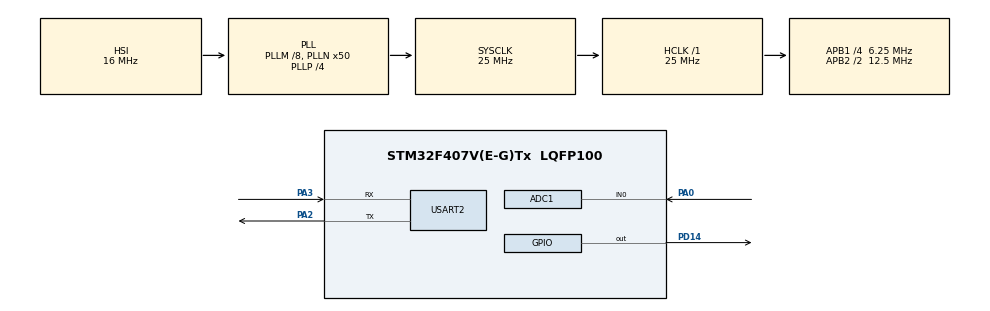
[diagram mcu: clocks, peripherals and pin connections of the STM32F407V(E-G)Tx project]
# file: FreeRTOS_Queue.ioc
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ADC1.Channel-0\#ChannelRegularConversion=ADC_CHANNEL_0
ADC1.NbrOfConversionFlag=1
ADC1.Rank-0\#ChannelRegularConversion=1
ADC1.SamplingTime-0\#ChannelRegularConversion=ADC_SAMPLETIME_3CYCLES
ADC1.master=1
FREERTOS.Tasks01=defaultTask,24,128,StartDefaultTask,Default,NULL,Dynamic,NULL,NULL
FREERTOS.configUSE_NEWLIB_REENTRANT=1
Mcu.Family=STM32F4
Mcu.Name=STM32F407V(E-G)Tx
Mcu.Package=LQFP100
NVIC.ADC_IRQn=true\:5\:0\:false\:false\:true\:true\:true\:true\:true
NVIC.PriorityGroup=NVIC_PRIORITYGROUP_4
NVIC.TIM6_DAC_IRQn=true\:15\:0\:false\:false\:true\:false\:false\:true\:true
NVIC.TimeBase=TIM6_DAC_IRQn
NVIC.TimeBaseIP=TIM6
PA0-WKUP.Signal=ADCx_IN0
PA2.Mode=Asynchronous
PA2.Signal=USART2_TX
PA3.Mode=Asynchronous
PA3.Signal=USART2_RX
PD14.Signal=GPIO_Output
ProjectManager.HeapSize=0x200
ProjectManager.StackSize=0x400
ProjectManager.TargetToolchain=STM32CubeIDE
RCC.48MHZClocksFreq_Value=14285714.285714285
RCC.AHBFreq_Value=25000000
RCC.APB1CLKDivider=RCC_HCLK_DIV4
RCC.APB1Freq_Value=6250000
RCC.APB1TimFreq_Value=12500000
RCC.APB2CLKDivider=RCC_HCLK_DIV2
RCC.APB2Freq_Value=12500000
RCC.APB2TimFreq_Value=25000000
RCC.CortexFreq_Value=25000000
RCC.HCLKFreq_Value=25000000
RCC.HSE_VALUE=8000000
RCC.HSI_VALUE=16000000
RCC.LSE_VALUE=32768
RCC.PLLM=8
RCC.PLLN=50
RCC.PLLP=RCC_PLLP_DIV4
RCC.PLLQ=7
RCC.SYSCLKFreq_VALUE=25000000
RCC.SYSCLKSource=RCC_SYSCLKSOURCE_PLLCLK
RCC.VCOOutputFreq_Value=100000000
SH.ADCx_IN0.0=ADC1_IN0,IN0
USART2.VirtualMode=VM_ASYNC
VP_FREERTOS_VS_CMSIS_V2.Mode=CMSIS_V2
VP_SYS_VS_tim6.Mode=TIM6
board=STM32F407G-DISC1

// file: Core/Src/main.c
/* USER CODE BEGIN Header */
/**
  ******************************************************************************
  * @file           : main.c
  * @brief          : Main program body
  ******************************************************************************
  * @attention
  *
  * Copyright (c) 2026 STMicroelectronics.
  * All rights reserved.
  *
  * This software is licensed under terms that can be found in the LICENSE file
  * in the root directory of this software component.
  * If no LICENSE file comes with this software, it is provided AS-IS.
  *
  ******************************************************************************
  */
/* USER CODE END Header */
#include "main.h"
#include "cmsis_os.h"

/* USER CODE BEGIN Includes */
#include<string.h>
#include<stdio.h>
#include<queue.h>
/* USER CODE END Includes */

ADC_HandleTypeDef hadc1;

UART_HandleTypeDef huart2;

/* Definitions for defaultTask */
osThreadId_t defaultTaskHandle;
const osThreadAttr_t defaultTask_attributes = {
  .name = "defaultTask",
  .stack_size = 128 * 4,
  .priority = (osPriority_t) osPriorityNormal,
};
/* USER CODE BEGIN PV */

xQueueHandle xqHandle;

/* USER CODE END PV */

void SystemClock_Config(void);
static void MX_GPIO_Init(void);
static void MX_ADC1_Init(void);
static void MX_USART2_UART_Init(void);
void StartDefaultTask(void *argument);

/* USER CODE BEGIN 0 */
void vLED_BlinkingTask(void *pvParam)
{
	TickType_t pxLastWakeUpTime = xTaskGetTickCount();
	while(1)
	{
		HAL_GPIO_TogglePin(GPIOD, GPIO_PIN_14);
		vTaskDelayUntil(&pxLastWakeUpTime, 1000 / portTICK_RATE_MS);
	}
	vTaskDelete(NULL);
}

void vADCReadingTask(void *pvParam)
{
	uint32_t value;

	while(1)
	{
		HAL_ADC_Start(&hadc1);
		HAL_ADC_PollForConversion(&hadc1, HAL_MAX_DELAY);
		value = HAL_ADC_GetValue(&hadc1);
		HAL_ADC_Stop(&hadc1);

		xQueueSend(xqHandle, &value, portMAX_DELAY);

		vTaskDelay(4000 / portTICK_RATE_MS);
	}
	vTaskDelete(NULL);
}

void vUARTSendingTask(void *pvParam)
{
	uint32_t value;
	uint8_t msg[64];

	while(1)
	{
		xQueueReceive(xqHandle, &value, portMAX_DELAY);

		sprintf((char *)msg, "Light Intensity = %lu\n\r", value);
		HAL_UART_Transmit(&huart2, (uint8_t *)msg, strlen((char *)msg), HAL_MAX_DELAY);
	}
	vTaskDelete(NULL);
}
/* USER CODE END 0 */

int main(void)
{

  /* MCU Configuration--------------------------------------------------------*/

  /* Reset of all peripherals, Initializes the Flash interface and the Systick. */
  HAL_Init();

  /* Configure the system clock */
  SystemClock_Config();

  /* Initialize all configured peripherals */
  MX_GPIO_Init();
  MX_ADC1_Init();
  MX_USART2_UART_Init();

  /* Init scheduler */
  osKernelInitialize();

  /* USER CODE BEGIN RTOS_QUEUES */
  xqHandle = xQueueCreate(5, sizeof(uint32_t));
  /* USER CODE END RTOS_QUEUES */

  /* Create the thread(s) */
  /* creation of defaultTask */
  defaultTaskHandle = osThreadNew(StartDefaultTask, NULL, &defaultTask_attributes);

  /* USER CODE BEGIN RTOS_THREADS */
  xTaskCreate(vLED_BlinkingTask, "LEDTask", configMINIMAL_STACK_SIZE, NULL, 3, NULL);
  xTaskCreate(vADCReadingTask, "ADCTask", configMINIMAL_STACK_SIZE, NULL, 5, NULL);
  xTaskCreate(vUARTSendingTask, "UARTTask", configMINIMAL_STACK_SIZE, NULL, 4, NULL);
  /* USER CODE END RTOS_THREADS */

  /* Start scheduler */
  osKernelStart();

  /* We should never get here as control is now taken by the scheduler */

  /* Infinite loop */
  while (1)
  {

  }
}

void SystemClock_Config(void)
{
  RCC_OscInitTypeDef RCC_OscInitStruct = {0};
  RCC_ClkInitTypeDef RCC_ClkInitStruct = {0};

  /** Configure the main internal regulator output voltage
  */
  __HAL_RCC_PWR_CLK_ENABLE();
  __HAL_PWR_VOLTAGESCALING_CONFIG(PWR_REGULATOR_VOLTAGE_SCALE1);

  /** Initializes the RCC Oscillators according to the specified parameters
  * in the RCC_OscInitTypeDef structure.
  */
  RCC_OscInitStruct.OscillatorType = RCC_OSCILLATORTYPE_HSI;
  RCC_OscInitStruct.HSIState = RCC_HSI_ON;
  RCC_OscInitStruct.HSICalibrationValue = RCC_HSICALIBRATION_DEFAULT;
  RCC_OscInitStruct.PLL.PLLState = RCC_PLL_ON;
  RCC_OscInitStruct.PLL.PLLSource = RCC_PLLSOURCE_HSI;
  RCC_OscInitStruct.PLL.PLLM = 8;
  RCC_OscInitStruct.PLL.PLLN = 50;
  RCC_OscInitStruct.PLL.PLLP = RCC_PLLP_DIV4;
  RCC_OscInitStruct.PLL.PLLQ = 7;
  if (HAL_RCC_OscConfig(&RCC_OscInitStruct) != HAL_OK)
  {
    Error_Handler();
  }

  /** Initializes the CPU, AHB and APB buses clocks
  */
  RCC_ClkInitStruct.ClockType = RCC_CLOCKTYPE_HCLK|RCC_CLOCKTYPE_SYSCLK
                              |RCC_CLOCKTYPE_PCLK1|RCC_CLOCKTYPE_PCLK2;
  RCC_ClkInitStruct.SYSCLKSource = RCC_SYSCLKSOURCE_PLLCLK;
  RCC_ClkInitStruct.AHBCLKDivider = RCC_SYSCLK_DIV1;
  RCC_ClkInitStruct.APB1CLKDivider = RCC_HCLK_DIV4;
  RCC_ClkInitStruct.APB2CLKDivider = RCC_HCLK_DIV2;

  if (HAL_RCC_ClockConfig(&RCC_ClkInitStruct, FLASH_LATENCY_0) != HAL_OK)
  {
    Error_Handler();
  }
}

static void MX_ADC1_Init(void)
{

  ADC_ChannelConfTypeDef sConfig = {0};

  /** Configure the global features of the ADC (Clock, Resolution, Data Alignment and number of conversion)
  */
  hadc1.Instance = ADC1;
  hadc1.Init.ClockPrescaler = ADC_CLOCK_SYNC_PCLK_DIV2;
  hadc1.Init.Resolution = ADC_RESOLUTION_12B;
  hadc1.Init.ScanConvMode = DISABLE;
  hadc1.Init.ContinuousConvMode = DISABLE;
  hadc1.Init.DiscontinuousConvMode = DISABLE;
  hadc1.Init.ExternalTrigConvEdge = ADC_EXTERNALTRIGCONVEDGE_NONE;
  hadc1.Init.ExternalTrigConv = ADC_SOFTWARE_START;
  hadc1.Init.DataAlign = ADC_DATAALIGN_RIGHT;
  hadc1.Init.NbrOfConversion = 1;
  hadc1.Init.DMAContinuousRequests = DISABLE;
  hadc1.Init.EOCSelection = ADC_EOC_SINGLE_CONV;
  if (HAL_ADC_Init(&hadc1) != HAL_OK)
  {
    Error_Handler();
  }

  /** Configure for the selected ADC regular channel its corresponding rank in the sequencer and its sample time.
  */
  sConfig.Channel = ADC_CHANNEL_0;
  sConfig.Rank = 1;
  sConfig.SamplingTime = ADC_SAMPLETIME_3CYCLES;
  if (HAL_ADC_ConfigChannel(&hadc1, &sConfig) != HAL_OK)
  {
    Error_Handler();
  }

}

static void MX_USART2_UART_Init(void)
{

  huart2.Instance = USART2;
  huart2.Init.BaudRate = 115200;
  huart2.Init.WordLength = UART_WORDLENGTH_8B;
  huart2.Init.StopBits = UART_STOPBITS_1;
  huart2.Init.Parity = UART_PARITY_NONE;
  huart2.Init.Mode = UART_MODE_TX_RX;
  huart2.Init.HwFlowCtl = UART_HWCONTROL_NONE;
  huart2.Init.OverSampling = UART_OVERSAMPLING_16;
  if (HAL_UART_Init(&huart2) != HAL_OK)
  {
    Error_Handler();
  }

}

static void MX_GPIO_Init(void)
{
  GPIO_InitTypeDef GPIO_InitStruct = {0};

  /* GPIO Ports Clock Enable */
  __HAL_RCC_GPIOA_CLK_ENABLE();
  __HAL_RCC_GPIOD_CLK_ENABLE();

  /*Configure GPIO pin Output Level */
  HAL_GPIO_WritePin(GPIOD, GPIO_PIN_14, GPIO_PIN_RESET);

  /*Configure GPIO pin : PD14 */
  GPIO_InitStruct.Pin = GPIO_PIN_14;
  GPIO_InitStruct.Mode = GPIO_MODE_OUTPUT_PP;
  GPIO_InitStruct.Pull = GPIO_NOPULL;
  GPIO_InitStruct.Speed = GPIO_SPEED_FREQ_LOW;
  HAL_GPIO_Init(GPIOD, &GPIO_InitStruct);

}

void StartDefaultTask(void *argument)
{
  for(;;)
  {
    osDelay(1);
  }
}

void HAL_TIM_PeriodElapsedCallback(TIM_HandleTypeDef *htim)
{
  if (htim->Instance == TIM6)
  {
    HAL_IncTick();
  }
}

void Error_Handler(void)
{
  __disable_irq();
  while (1)
  {
  }
}
